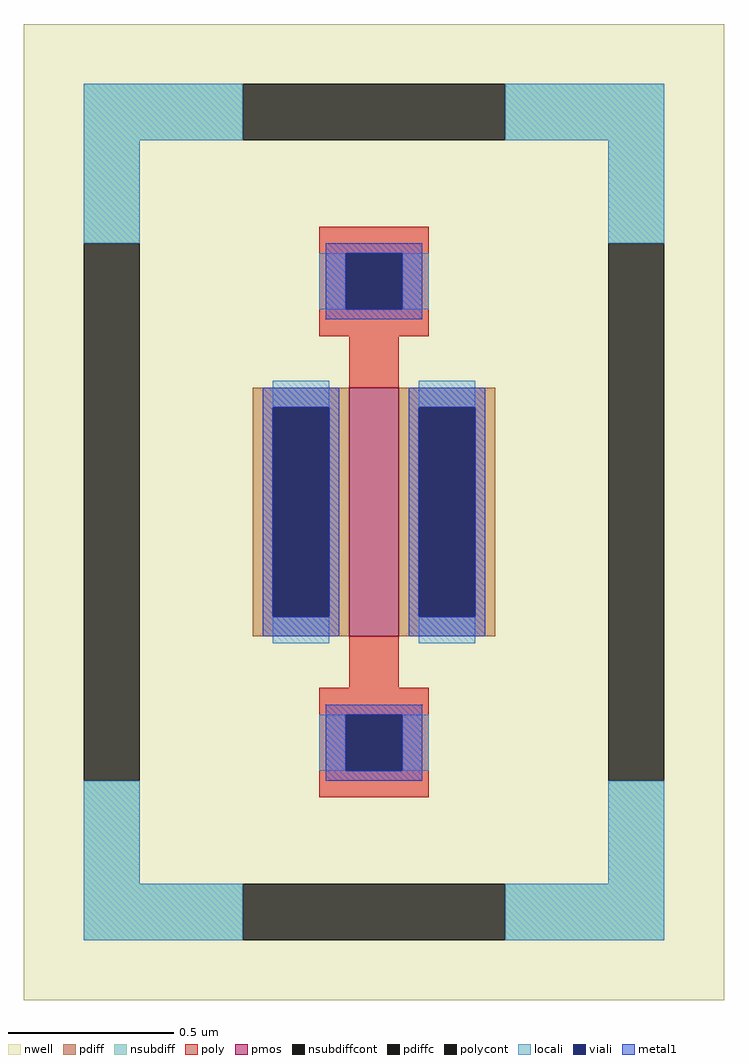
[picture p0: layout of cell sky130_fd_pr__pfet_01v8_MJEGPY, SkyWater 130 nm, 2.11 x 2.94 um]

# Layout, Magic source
magic
tech sky130A
magscale 1 2
<< nwell >>
rect -211 -294 211 294
<< pmos >>
rect -15 -75 15 75
<< pdiff >>
rect -73 63 -15 75
rect -73 -63 -61 63
rect -27 -63 -15 63
rect -73 -75 -15 -63
rect 15 63 73 75
rect 15 -63 27 63
rect 61 -63 73 63
rect 15 -75 73 -63
<< pdiffc >>
rect -61 -63 -27 63
rect 27 -63 61 63
<< nsubdiff >>
rect -175 224 -79 258
rect 79 224 175 258
rect -175 162 -141 224
rect 141 162 175 224
rect -175 -224 -141 -162
rect 141 -224 175 -162
rect -175 -258 -79 -224
rect 79 -258 175 -224
<< nsubdiffcont >>
rect -79 224 79 258
rect -175 -162 -141 162
rect 141 -162 175 162
rect -79 -258 79 -224
<< poly >>
rect -33 156 33 172
rect -33 122 -17 156
rect 17 122 33 156
rect -33 106 33 122
rect -15 75 15 106
rect -15 -106 15 -75
rect -33 -122 33 -106
rect -33 -156 -17 -122
rect 17 -156 33 -122
rect -33 -172 33 -156
<< polycont >>
rect -17 122 17 156
rect -17 -156 17 -122
<< locali >>
rect -175 224 -79 258
rect 79 224 175 258
rect -175 162 -141 224
rect 141 162 175 224
rect -33 122 -17 156
rect 17 122 33 156
rect -61 63 -27 79
rect -61 -79 -27 -63
rect 27 63 61 79
rect 27 -79 61 -63
rect -33 -156 -17 -122
rect 17 -156 33 -122
rect -175 -224 -141 -162
rect 141 -224 175 -162
rect -175 -258 -79 -224
rect 79 -258 175 -224
<< viali >>
rect -17 122 17 156
rect -61 -63 -27 63
rect 27 -63 61 63
rect -17 -156 17 -122
<< metal1 >>
rect -29 156 29 162
rect -29 122 -17 156
rect 17 122 29 156
rect -29 116 29 122
rect -67 63 -21 75
rect -67 -63 -61 63
rect -27 -63 -21 63
rect -67 -75 -21 -63
rect 21 63 67 75
rect 21 -63 27 63
rect 61 -63 67 63
rect 21 -75 67 -63
rect -29 -122 29 -116
rect -29 -156 -17 -122
rect 17 -156 29 -122
rect -29 -162 29 -156
<< properties >>
string FIXED_BBOX -158 -241 158 241
string gencell sky130_fd_pr__pfet_01v8
string library sky130
string parameters w 0.75 l 0.15 m 1 nf 1 diffcov 100 polycov 100 guard 1 glc 1 grc 1 gtc 1 gbc 1 tbcov 100 rlcov 100 topc 1 botc 1 poverlap 0 doverlap 1 lmin 0.15 wmin 0.42 compatible {sky130_fd_pr__pfet_01v8  sky130_fd_pr__pfet_01v8_lvt sky130_fd_pr__pfet_01v8_hvt  sky130_fd_pr__pfet_g5v0d10v5} full_metal 1 viasrc 100 viadrn 100 viagate 100 viagb 0 viagr 0 viagl 0 viagt 0
<< end >>
